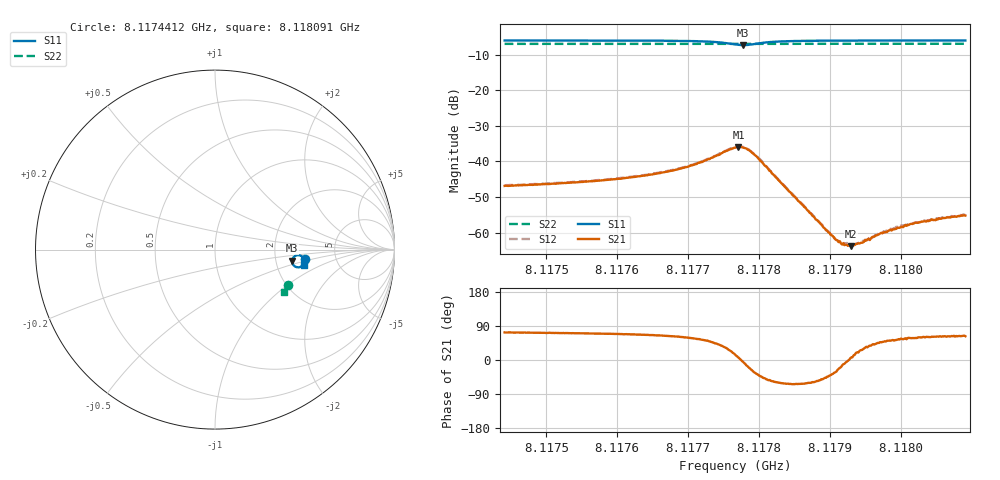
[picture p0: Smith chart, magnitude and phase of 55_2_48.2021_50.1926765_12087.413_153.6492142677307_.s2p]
#  HZ  S  RI  R  50.00
! Rohde & Schwarz Vector Network Analyzer
! Rohde-Schwarz,ZNB20-2Port,1311601062101988,3.16
! Created: UTC 3/20/2024, 11:38:32 AM
! freq[Hz]  re:S11  im:S11  re:S21  im:S21  re:S12  im:S12  re:S22  im:S22
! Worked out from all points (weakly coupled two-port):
!   401 points, 8.1174412 GHz to 8.118091 GHz, reference 50 ohm
!   highest |S21| = -35.90 dB at 8.117771 GHz (marker M1); lowest = -63.8 dB at 8.1179302 GHz (marker M2)
!   lowest |S11| = -7.3 dB at 8.1177775 GHz (marker M3), VSWR 2.53, Z = 123 - j18.6 ohm
!   |S11| at or under -10 dB: nowhere
!   |S22| runs from -6.9 to -6.9 dB; largest |S21 - S12| = 0.00049
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8.11744122e9  0.5023 -0.0526  0.00134 0.00433  0.00143 0.00438  0.4063 -0.1982
8.11755005e9  0.5004 -0.0636  0.00173 0.00485  0.00185 0.00493  0.4031 -0.2052
8.11760528e9  0.4986 -0.0702  0.00211 0.00532  0.00221 0.00545  0.4014 -0.2088
8.11765888e9  0.4952 -0.0787  0.00292 0.00619  0.00302 0.00627  0.3995 -0.2123
8.11770924e9  0.4859 -0.0902  0.005 0.00758  0.00514 0.00768  0.3975 -0.2157
8.1177466e9  0.4617 -0.0987  0.0103 0.00802  0.0105 0.00807  0.3954 -0.2181
8.11776609e9  0.4358 -0.085  0.0152 0.00391  0.0154 0.00387  0.3939 -0.2184
8.11777097e9  0.431 -0.0758  0.0159 0.0018  0.016 0.00165  0.3936 -0.2181
8.11777746e9  0.4296 -0.0611  0.0156 -0.00137  0.016 -0.00156  0.3934 -0.2178
8.11778558e9  0.4366 -0.0441  0.0136 -0.00495  0.0138 -0.0052  0.3937 -0.2178
8.11779533e9  0.4523 -0.033  0.00989 -0.00693  0.00997 -0.00713  0.3943 -0.218
8.11782619e9  0.4858 -0.0396  0.00288 -0.00486  0.00288 -0.00494  0.3949 -0.2205
8.11787492e9  0.4969 -0.0573  0.000914 -0.00148  0.000935 -0.00155  0.3935 -0.2242
8.11790903e9  0.4984 -0.0648  0.000676 -0.000402  0.000671 -0.000399  0.3924 -0.2267
8.11791878e9  0.4984 -0.0666  0.000694 -0.000139  0.00069 -0.000177  0.3921 -0.2273
8.11793015e9  0.4986 -0.0685  0.000637 8.01e-05  0.000658 9.02e-05  0.3918 -0.2282
8.11794477e9  0.4987 -0.0707  0.000644 0.000318  0.000664 0.000331  0.3912 -0.2289
8.11796914e9  0.4986 -0.0742  0.000668 0.000667  0.000715 0.000704  0.3905 -0.2306
8.11798375e9  0.4986 -0.076  0.00067 0.000836  0.000697 0.000804  0.3899 -0.2315
8.11802274e9  0.4981 -0.0804  0.000725 0.00116  0.000744 0.00118  0.3885 -0.234
8.1180471e9  0.4979 -0.0829  0.000718 0.00133  0.000756 0.00136  0.3877 -0.2356
8.11809096e9  0.4972 -0.0872  0.000796 0.00154  0.000826 0.00159  0.3863 -0.2383
